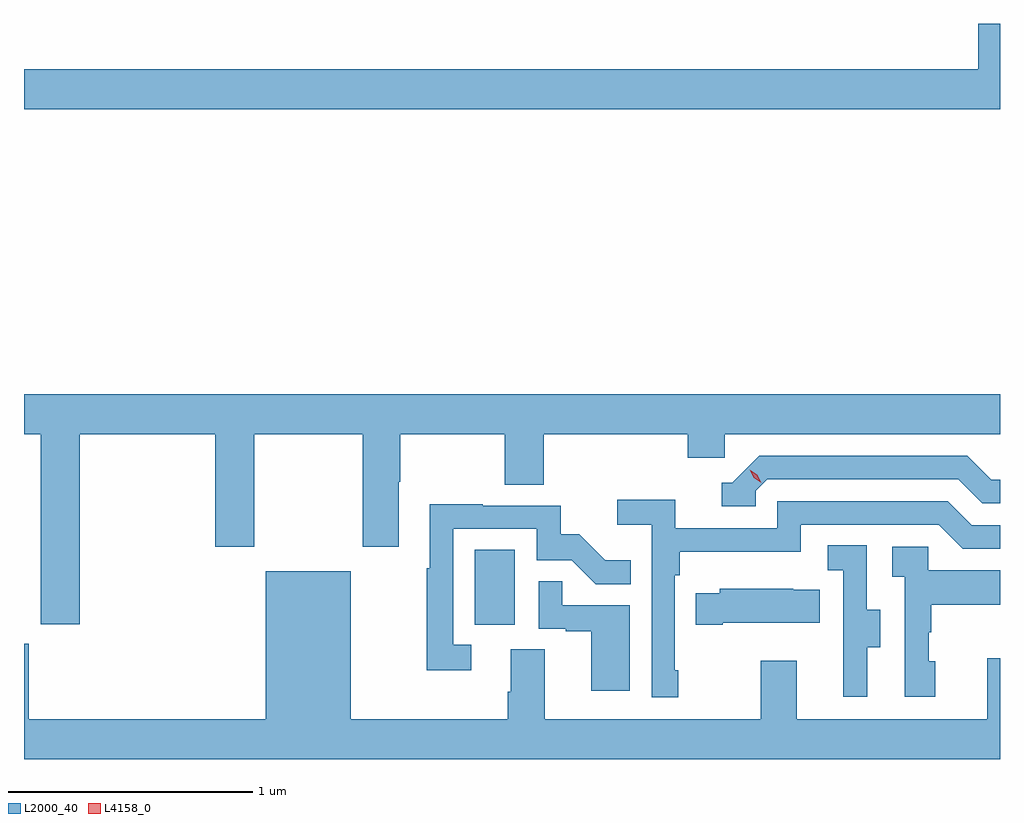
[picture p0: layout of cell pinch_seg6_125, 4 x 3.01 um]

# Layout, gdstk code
import gdstk
lib = gdstk.Library(unit=1e-6, precision=1e-09)
def R(c, l, rs):  # rectangles x0, y0, x1, y1
    for r in rs: c.add(gdstk.rectangle(r[:2], r[2:], *l))
def P(c, l, *ps):  # polygons
    for p in ps: c.add(gdstk.Polygon(p, *l))
L2000_40 = (2000, 40)
L4158_0 = (4158, 0)

pinch_seg6_125 = lib.new_cell('pinch_seg6_125')
R(pinch_seg6_125, L2000_40, [(950.978,926.574,951.142,926.881)])
P(pinch_seg6_125, L2000_40, [(953.13,929.037),(953.041,929.037),(953.041,928.852),(949.13,928.852),(949.13,928.688),(953.13,928.688)],
  [(949.358,927.356),(949.913,927.356),(949.913,926.895),(950.073,926.895),(950.073,927.356),(950.518,927.356),(950.518,926.895),(950.665,926.895),(950.665,927.16),(950.673,927.16),(950.673,927.356),(951.1,927.356),(951.1,927.148),(951.26,927.148),(951.26,927.356),(951.851,927.356),(951.851,927.258),(952.002,927.258),(952.002,927.356),(953.13,927.356),(953.13,927.52),(949.13,927.52),(949.13,927.356),(949.198,927.356),(949.198,926.577),(949.358,926.577)],
  [(952.128,927.123),(952.176,927.171),(952.959,927.171),(953.058,927.072),(953.13,927.072),(953.13,927.168),(953.095,927.168),(952.996,927.267),(952.143,927.267),(952.032,927.156),(951.989,927.156),(951.989,927.06),(952.128,927.06)],
  [(951.811,926.389),(951.798,926.389),(951.798,926.777),(951.818,926.777),(951.818,926.873),(952.314,926.873),(952.314,926.985),(952.878,926.985),(952.977,926.886),(953.13,926.886),(953.13,926.982),(953.014,926.982),(952.915,927.081),(952.218,927.081),(952.218,926.97),(951.8,926.97),(951.8,927.086),(951.561,927.086),(951.561,926.984),(951.702,926.984),(951.702,926.277),(951.811,926.277)],
  [(950.962,926.493),(950.889,926.493),(950.889,926.967),(951.231,926.967),(951.231,926.838),(951.375,926.838),(951.473,926.74),(951.617,926.74),(951.617,926.839),(951.513,926.839),(951.406,926.946),(951.33,926.946),(951.33,927.063),(951.011,927.063),(951.011,927.068),(950.793,927.068),(950.793,926.807),(950.781,926.807),(950.781,926.388),(950.962,926.388)],
  [(952.585,926.482),(952.639,926.482),(952.639,926.637),(952.584,926.637),(952.584,926.9),(952.425,926.9),(952.425,926.797),(952.488,926.797),(952.488,926.493),(952.487,926.493),(952.487,926.28),(952.585,926.28)],
  [(952.864,926.424),(952.839,926.424),(952.839,926.543),(952.849,926.543),(952.849,926.657),(953.13,926.657),(953.13,926.797),(952.836,926.797),(952.836,926.895),(952.689,926.895),(952.689,926.771),(952.74,926.771),(952.74,926.28),(952.864,926.28)],
  [(953.13,926.437),(953.078,926.437),(953.078,926.188),(952.297,926.188),(952.297,926.428),(952.15,926.428),(952.15,926.188),(951.265,926.188),(951.265,926.474),(951.125,926.474),(951.125,926.3),(951.113,926.3),(951.113,926.188),(950.47,926.188),(950.47,926.794),(950.12,926.794),(950.12,926.188),(949.15,926.188),(949.15,926.497),(949.13,926.497),(949.13,926.024),(953.13,926.024)],
  [(951.613,926.655),(951.335,926.655),(951.335,926.753),(951.24,926.753),(951.24,926.559),(951.351,926.559),(951.351,926.547),(951.455,926.547),(951.455,926.304),(951.613,926.304)],
  [(951.994,926.582),(952.391,926.582),(952.391,926.719),(952.283,926.719),(952.283,926.722),(951.981,926.722),(951.981,926.704),(951.883,926.704),(951.883,926.575),(951.994,926.575)])
P(pinch_seg6_125, L4158_0, [(952.152,927.157),(952.121,927.176),(952.105,927.209),(952.105,927.209),(952.105,927.209),(952.136,927.19),(952.152,927.157),(952.152,927.157)])

lib.write_gds('pinch_seg6_125.gds')
